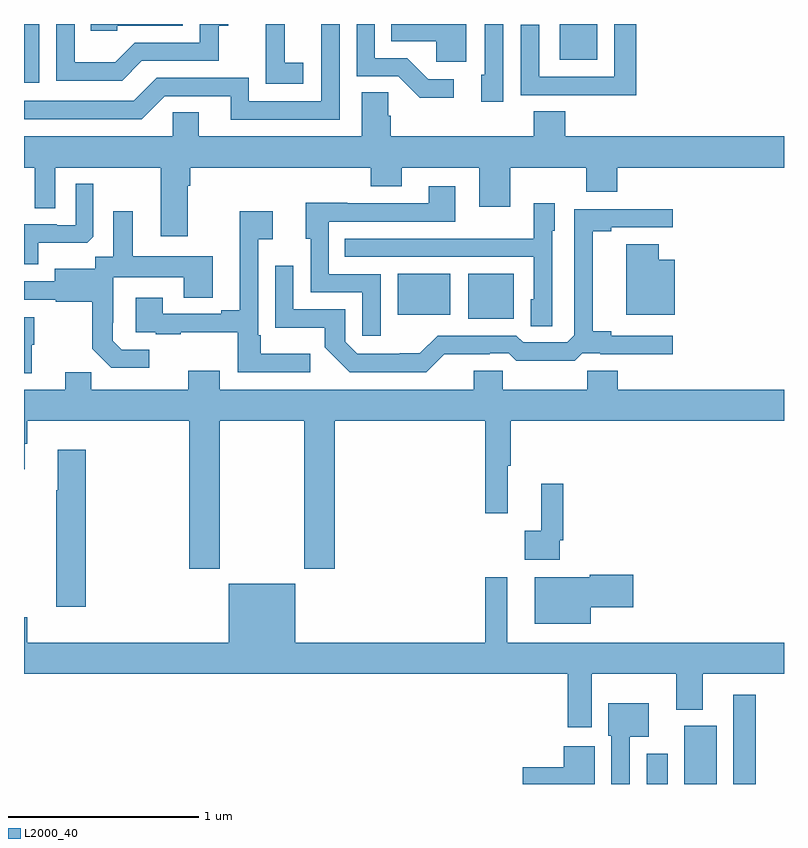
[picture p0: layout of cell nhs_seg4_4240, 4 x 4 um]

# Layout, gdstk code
import gdstk
lib = gdstk.Library(unit=1e-6, precision=1e-09)
def R(c, l, rs):  # rectangles x0, y0, x1, y1
    for r in rs: c.add(gdstk.rectangle(r[:2], r[2:], *l))
def P(c, l, *ps):  # polygons
    for p in ps: c.add(gdstk.Polygon(p, *l))
L2000_40 = (2000, 40)

nhs_seg4_4240 = lib.new_cell('nhs_seg4_4240')
R(nhs_seg4_4240, L2000_40, [(340.277,802.9,340.387,803.059), (340.475,802.9,340.645,803.206), (340.734,802.9,340.85,803.371), (339.338,805.349,339.577,805.585), (338.966,805.37,339.244,805.585), (337,806.592,337.08,806.9), (339.821,806.711,340.018,806.9)])
P(nhs_seg4_4240, L2000_40, [(337.621,806.706),(338.025,806.706),(338.025,806.891),(338.074,806.891),(338.074,806.9),(337.926,806.9),(337.926,806.802),(337.584,806.802),(337.48,806.698),(337.266,806.698),(337.266,806.9),(337.17,806.9),(337.17,806.601),(337.516,806.601)],
  [(337.491,806.892),(337.836,806.892),(337.836,806.9),(337.351,806.9),(337.351,806.865),(337.491,806.865)],
  [(339.522,806.9),(339.426,806.9),(339.426,806.634),(339.407,806.634),(339.407,806.49),(339.522,806.49)],
  [(340.223,806.9),(340.107,806.9),(340.107,806.622),(339.711,806.622),(339.711,806.896),(339.615,806.896),(339.615,806.526),(339.931,806.526),(339.931,806.525),(340.223,806.525)],
  [(339.262,806.61),(339.127,806.61),(339.016,806.721),(338.847,806.721),(338.847,806.9),(338.751,806.9),(338.751,806.625),(338.97,806.625),(339.083,806.513),(339.262,806.513)],
  [(339.328,806.9),(338.932,806.9),(338.932,806.81),(339.171,806.81),(339.171,806.702),(339.328,806.702)],
  [(338.47,806.695),(338.372,806.695),(338.372,806.9),(338.273,806.9),(338.273,806.791),(338.272,806.791),(338.272,806.585),(338.47,806.585)],
  [(338.661,806.9),(338.565,806.9),(338.565,806.493),(338.184,806.493),(338.184,806.616),(337.698,806.616),(337.578,806.496),(337,806.496),(337,806.4),(337.62,806.4),(337.74,806.52),(338.087,806.52),(338.087,806.397),(338.661,806.397)],
  [(337.861,806.048),(337.874,806.048),(337.874,806.144),(338.825,806.144),(338.825,806.045),(338.989,806.045),(338.989,806.144),(339.395,806.144),(339.395,805.938),(339.559,805.938),(339.559,806.144),(339.959,806.144),(339.959,806.016),(340.123,806.016),(340.123,806.144),(341,806.144),(341,806.308),(339.848,806.308),(339.848,806.441),(339.683,806.441),(339.683,806.308),(338.93,806.308),(338.93,806.417),(338.916,806.417),(338.916,806.54),(338.777,806.54),(338.777,806.308),(337.921,806.308),(337.921,806.435),(337.782,806.435),(337.782,806.308),(337,806.308),(337,806.144),(337.056,806.144),(337.056,805.93),(337.164,805.93),(337.164,806.144),(337.721,806.144),(337.721,805.782),(337.861,805.782)],
  [(337.075,805.748),(337.333,805.748),(337.365,805.779),(337.365,806.059),(337.272,806.059),(337.272,805.842),(337.172,805.842),(337.172,805.845),(337,805.845),(337,805.635),(337.075,805.635)],
  [(338.877,805.584),(338.604,805.584),(338.604,805.86),(339.271,805.86),(339.271,806.047),(339.131,806.047),(339.131,805.956),(338.701,805.956),(338.701,805.958),(338.483,805.958),(338.483,805.77),(338.508,805.77),(338.508,805.488),(338.781,805.488),(338.781,805.26),(338.877,805.26)],
  [(339.78,805.812),(339.793,805.812),(339.793,805.957),(339.684,805.957),(339.684,805.771),(339.367,805.771),(339.367,805.77),(338.689,805.77),(338.689,805.674),(339.684,805.674),(339.684,805.452),(339.668,805.452),(339.668,805.309),(339.78,805.309)],
  [(339.212,805.163),(339.452,805.163),(339.452,805.167),(339.552,805.167),(339.592,805.128),(339.899,805.128),(339.939,805.167),(340.033,805.167),(340.033,805.163),(340.414,805.163),(340.414,805.26),(340.09,805.26),(340.09,805.283),(339.994,805.283),(339.994,805.81),(340.09,805.81),(340.09,805.83),(340.414,805.83),(340.414,805.926),(339.897,805.926),(339.897,805.263),(339.858,805.224),(339.627,805.224),(339.591,805.26),(339.177,805.26),(339.083,805.166),(338.978,805.166),(338.978,805.164),(338.754,805.164),(338.691,805.227),(338.691,805.398),(338.418,805.398),(338.418,805.627),(338.322,805.627),(338.322,805.301),(338.584,805.301),(338.584,805.199),(338.714,805.068),(339.117,805.068)],
  [(337.66,805.185),(337.515,805.185),(337.468,805.232),(337.468,805.327),(337.47,805.327),(337.47,805.568),(337.841,805.568),(337.841,805.459),(337.993,805.459),(337.993,805.678),(337.573,805.678),(337.573,805.915),(337.469,805.915),(337.469,805.676),(337.374,805.676),(337.374,805.612),(337.163,805.612),(337.163,805.545),(337,805.545),(337,805.449),(337.167,805.449),(337.167,805.437),(337.359,805.437),(337.359,805.191),(337.459,805.091),(337.66,805.091)],
  [(338.506,805.165),(338.245,805.165),(338.245,805.261),(338.232,805.261),(338.232,805.766),(338.308,805.766),(338.308,805.915),(338.135,805.915),(338.135,805.393),(338.039,805.393),(338.039,805.374),(337.729,805.374),(337.729,805.459),(337.589,805.459),(337.589,805.278),(337.693,805.278),(337.693,805.266),(337.825,805.266),(337.825,805.277),(338.124,805.277),(338.124,805.068),(338.506,805.068)],
  [(340.426,805.66),(340.34,805.66),(340.34,805.741),(340.169,805.741),(340.169,805.37),(340.426,805.37)],
  [(337.042,805.212),(337.054,805.212),(337.054,805.356),(337,805.356),(337,805.061),(337.042,805.061)],
  [(338.031,804.812),(338.476,804.812),(338.476,804.033),(338.636,804.033),(338.636,804.812),(339.427,804.812),(339.427,804.324),(339.545,804.324),(339.545,804.576),(339.563,804.576),(339.563,804.812),(341,804.812),(341,804.976),(340.124,804.976),(340.124,805.074),(339.964,805.074),(339.964,804.976),(339.519,804.976),(339.519,805.074),(339.368,805.074),(339.368,804.976),(338.029,804.976),(338.029,805.075),(337.865,805.075),(337.865,804.976),(337.355,804.976),(337.355,805.067),(337.217,805.067),(337.217,804.976),(337,804.976),(337,804.556),(337.003,804.556),(337.003,804.69),(337.016,804.69),(337.016,804.812),(337.871,804.812),(337.871,804.033),(338.031,804.033)],
  [(337.325,804.658),(337.178,804.658),(337.178,804.445),(337.171,804.445),(337.171,803.832),(337.325,803.832)],
  [(339.819,804.184),(339.839,804.184),(339.839,804.481),(339.722,804.481),(339.722,804.233),(339.636,804.233),(339.636,804.08),(339.819,804.08)],
  [(339.982,803.831),(340.207,803.831),(340.207,804.002),(339.978,804.002),(339.978,803.989),(339.689,803.989),(339.689,803.744),(339.982,803.744)],
  [(339.988,803.48),(340.433,803.48),(340.433,803.291),(340.573,803.291),(340.573,803.48),(341,803.48),(341,803.644),(339.544,803.644),(339.544,803.989),(339.427,803.989),(339.427,803.644),(338.428,803.644),(338.428,803.953),(338.078,803.953),(338.078,803.644),(337.016,803.644),(337.016,803.777),(337,803.777),(337,803.48),(339.863,803.48),(339.863,803.199),(339.988,803.199)],
  [(340.188,803.15),(340.288,803.15),(340.288,803.326),(340.076,803.326),(340.076,803.154),(340.092,803.154),(340.092,802.9),(340.188,802.9)],
  [(340.003,803.098),(339.842,803.098),(339.842,802.988),(339.624,802.988),(339.624,802.9),(340.003,802.9)])

lib.write_gds('nhs_seg4_4240.gds')
